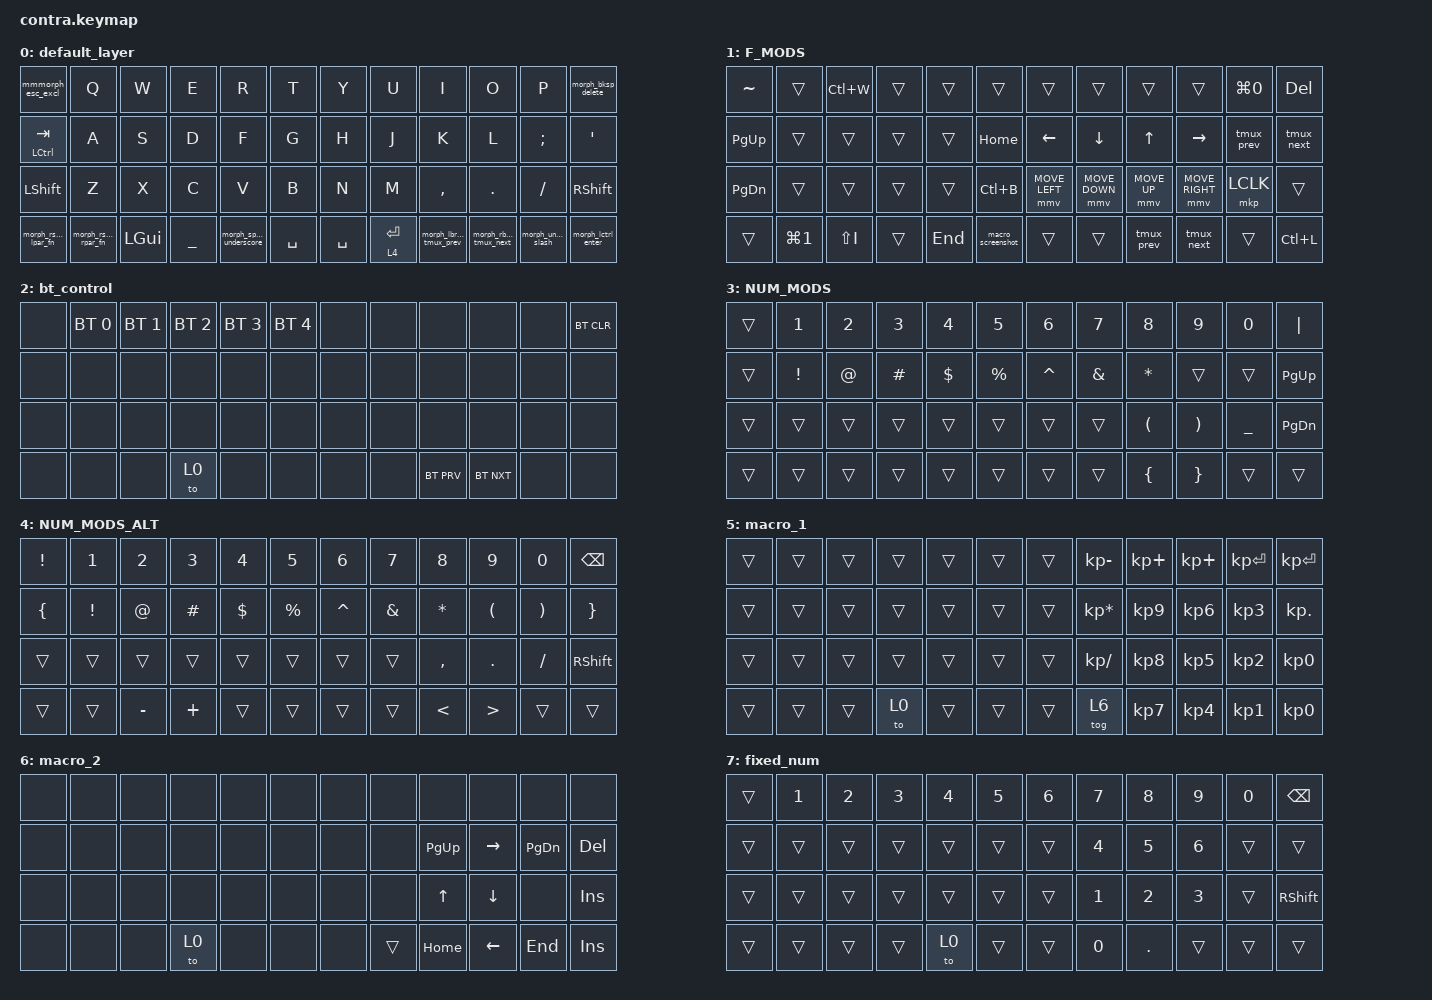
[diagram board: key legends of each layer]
/*
 * Copyright (c) 2021 The ZMK Contributors
 *
 * SPDX-License-Identifier: MIT
 */

#include <behaviors.dtsi>
#include <dt-bindings/zmk/bt.h>
#include <dt-bindings/zmk/keys.h>
#include <dt-bindings/zmk/mouse.h>

#define DEFAULT  0
#define NUM_MODS 1
#define BT_CTRL  2

/ {
    behaviors {
        tap_layer: tap_layer {
            compatible = "zmk,behavior-tap-dance";
            label = "TAP_LAYER";
            #binding-cells = <0>;
            bindings =
                <&to 5>,
                <&to 2>;
        };
        morph_rshift_number: morph_rshift_number {
            compatible = "zmk,behavior-mod-morph";
            label = "MORPH_RSHIFT_NUMBER";
            bindings =
                <&kp RIGHT_SHIFT>,
                <&mo 3>;

            #binding-cells = <0>;
            mods = <(MOD_RCTL)>;
        };
        morph_bksp_delete: morph_bksp_delete {
            compatible = "zmk,behavior-mod-morph";
            label = "MORPH_BKSP_DELETE";
            bindings =
                <&kp BACKSPACE>,
                <&kp DELETE>;

            #binding-cells = <0>;
            mods = <(MOD_LCTL)>;
        };
        morph_gresc_tilde: morph_gresc_tilde {
            compatible = "zmk,behavior-mod-morph";
            label = "MORPH_GRESC_TILDE";
            bindings =
                <&gresc>,
                <&kp TILDE>;

            #binding-cells = <0>;
            mods = <(MOD_LCTL)>;
        };
        morph_lbracket_tmux_prev: morph_lbracket_tmux_prev {
            compatible = "zmk,behavior-mod-morph";
            label = "MORPH_LBRACKET_TMUX_PREV";
            bindings =
                <&kp LEFT_BRACKET>,
                <&tmux_prev>;

            #binding-cells = <0>;
            mods = <(MOD_LCTL)>;
        };
        morph_rbracket_tmux_next: morph_rbracket_tmux_next {
            compatible = "zmk,behavior-mod-morph";
            label = "MORPH_RBRACKET_TMUX_NEXT";
            bindings =
                <&kp RIGHT_BRACKET>,
                <&tmux_next>;

            #binding-cells = <0>;
            mods = <(MOD_LCTL)>;
        };
        morph_underscore_slash: morph_underscore_slash {
            compatible = "zmk,behavior-mod-morph";
            label = "MORPH_UNDERSCORE_SLASH";
            bindings =
                <&kp BACKSLASH>,
                <&kp UNDERSCORE>;

            #binding-cells = <0>;
            mods = <(MOD_RSFT)>;
        };
        morph_lctrl_enter: morph_lctrl_enter {
            compatible = "zmk,behavior-mod-morph";
            label = "MORPH_LCTRL_ENTER";
            bindings =
                <&lt 3 ENTER>,
                <&kp LC(L)>;

            #binding-cells = <0>;
            mods = <(MOD_LCTL)>;
        };
        morph_morph_esc: morph_morph_esc {
            compatible = "zmk,behavior-mod-morph";
            label = "MORPH_MORPH_ESC";
            bindings =
                <&morph_gresc_tilde>,
                <&kp LG(TAB)>;

            #binding-cells = <0>;
            mods = <(MOD_LGUI)>;
            keep-mods = <(MOD_LGUI)>;
        };
        morph_space_underscore: morph_space_underscore {
            compatible = "zmk,behavior-mod-morph";
            label = "MORPH_SPACE_UNDERSCORE";
            bindings =
                <&to 0>,
                <&kp UNDERSCORE>;

            #binding-cells = <0>;
            mods = <(MOD_RSFT)>;
        };
        mmmorph_esc_excl: mmmorph_esc_excl {
            compatible = "zmk,behavior-mod-morph";
            label = "MMMORPH_ESC_EXCL";
            bindings =
                <&morph_morph_esc>,
                <&kp EXCLAMATION>;

            #binding-cells = <0>;
            mods = <(MOD_RSFT)>;
        };
        morph_rshift_lpar_fn: morph_rshift_lpar_fn {
            compatible = "zmk,behavior-mod-morph";
            label = "MORPH_RSHIFT_LPAR_FN";
            bindings =
                <&mo 1>,
                <&kp LEFT_PARENTHESIS>;

            #binding-cells = <0>;
            mods = <(MOD_RSFT)>;
        };
        morph_rshift_rpar_fn: morph_rshift_rpar_fn {
            compatible = "zmk,behavior-mod-morph";
            label = "MORPH_RSHIFT_RPAR_FN";
            bindings =
                <&kp LEFT_ALT>,
                <&kp RPAR>;

            #binding-cells = <0>;
            mods = <(MOD_RSFT)>;
        };
    };

    combos {
        compatible = "zmk,combos";

        combo_quot {
            timeout-ms = <50>;
            key-positions = <22 23>;
            bindings = <&kp DOUBLE_QUOTES>;
        };

        combo_best_regards {
            timeout-ms = <50>;
            key-positions = <40 41 43>;
            bindings = <&macro_best_regards>;
        };

        combo_layer_numpad {
            timeout-ms = <50>;
            key-positions = <30 40 41>;
            bindings = <&to 5>;
        };

        combo_layer_bluetooth {
            timeout-ms = <50>;
            key-positions = <29 40>;
            bindings = <&to 2>;
        };

        combo_bootloader {
            timeout-ms = <50>;
            key-positions = <36 38 11>;
            bindings = <&bootloader>;
        };

        combo_minus {
            timeout-ms = <50>;
            key-positions = <10 11>;
            bindings = <&kp MINUS>;
        };

        combo_equal {
            timeout-ms = <50>;
            key-positions = <9 10 11>;
            bindings = <&kp EQUAL>;
        };

        combo_tab {
            bindings = <&kp TAB>;
            key-positions = <12 13>;
        };

        combo_F1 {
            bindings = <&kp F1>;
            key-positions = <0 12>;
        };

        combo_F2 {
            bindings = <&kp F2>;
            key-positions = <1 13>;
        };

        combo_F3 {
            bindings = <&kp F3>;
            key-positions = <2 14>;
        };

        combo_F4 {
            bindings = <&kp F4>;
            key-positions = <3 15>;
        };

        combo_F5 {
            bindings = <&kp F5>;
            key-positions = <4 16>;
        };

        combo_F6 {
            bindings = <&kp F6>;
            key-positions = <5 17>;
        };

        combo_F7 {
            bindings = <&kp F7>;
            key-positions = <6 18>;
        };

        combo_F8 {
            bindings = <&kp F8>;
            key-positions = <7 19>;
        };

        combo_F9 {
            bindings = <&kp F9>;
            key-positions = <8 20>;
        };

        combo_F10 {
            bindings = <&kp F10>;
            key-positions = <9 21>;
        };

        combo_F11 {
            bindings = <&kp F11>;
            key-positions = <10 22>;
        };

        combo_F12 {
            bindings = <&kp F12>;
            key-positions = <11 23>;
        };

        combo_triple_equal {
            bindings = <&macro_triple_equal>;
            key-positions = <23 22 21>;
        };

        combo_to_fix_num {
            bindings = <&to 7>;
            key-positions = <40 30>;
        };
    };

    macros {
        tmux_prev: tmux_prev {
            compatible = "zmk,behavior-macro";
            label = "TMUX_PREV";
            #binding-cells = <0>;
            bindings = <&kp LC(B) &kp P>;
        };
        tmux_next: tmux_next {
            compatible = "zmk,behavior-macro";
            label = "TMUX_NEXT";
            #binding-cells = <0>;
            bindings = <&kp LC(B) &kp N>;
        };
        macro_triple_equal: macro_triple_equal {
            compatible = "zmk,behavior-macro";
            label = "MACRO_TRIPLE_EQUAL";
            #binding-cells = <0>;
            bindings = <&kp EQUAL &kp EQUAL &kp EQUAL>;
        };
        macro_screenshot: macro_screenshot {
            compatible = "zmk,behavior-macro";
            label = "MACRO_SCREENSHOT";
            #binding-cells = <0>;
            bindings = <&kp LG(LS(NUMBER_4))>;
        };
        macro_best_regards: macro_best_regards {
            compatible = "zmk,behavior-macro";
            label = "MACRO_BEST_REGARDS";
            #binding-cells = <0>;
            bindings = <&none &kp LS(B) &kp E &kp S &kp T &kp SPACE &kp LS(R) &kp E &kp G &kp A &kp R &kp D &kp S &kp COMMA &kp RET &kp LS(S) &kp A &kp V &kp I &kp O>;
        };
    };

    keymap {
        compatible = "zmk,keymap";

        default_layer {
            bindings = <
    &mmmorph_esc_excl                  &kp Q     &kp W      &kp E                    &kp R      &kp T      &kp Y        &kp U                      &kp I                      &kp O                    &kp P  &morph_bksp_delete
        &mt LCTRL TAB                  &kp A     &kp S      &kp D                    &kp F      &kp G      &kp H        &kp J                      &kp K                      &kp L                 &kp SEMI            &kp APOS
       &kp LEFT_SHIFT                  &kp Z     &kp X      &kp C                    &kp V      &kp B      &kp N        &kp M                  &kp COMMA                    &kp DOT                 &kp FSLH     &kp RIGHT_SHIFT
&morph_rshift_lpar_fn  &morph_rshift_rpar_fn  &kp LGUI  &kp UNDER  &morph_space_underscore  &kp SPACE  &kp SPACE  &lt 4 ENTER  &morph_lbracket_tmux_prev  &morph_rbracket_tmux_next  &morph_underscore_slash  &morph_lctrl_enter
            >;
        };

        F_MODS {
            bindings = <
&kp TILDE            &trans  &kp LC(W)  &trans   &trans             &trans         &trans           &trans          &trans           &trans  &kp LG(NUMBER_0)  &kp DELETE
&kp PG_UP            &trans     &trans  &trans   &trans           &kp HOME       &kp LEFT         &kp DOWN    &kp UP_ARROW        &kp RIGHT        &tmux_prev  &tmux_next
&kp PG_DN            &trans     &trans  &trans   &trans          &kp LC(B) &mmv MOVE_LEFT   &mmv MOVE_DOWN    &mmv MOVE_UP  &mmv MOVE_RIGHT         &mkp LCLK      &trans
   &trans  &kp LG(NUMBER_1)  &kp LS(I)  &trans  &kp END  &macro_screenshot         &trans           &trans      &tmux_prev       &tmux_next            &trans   &kp LC(L)
            >;
        };

        bt_control {
            bindings = <
&none  &bt BT_SEL 0  &bt BT_SEL 1  &bt BT_SEL 2  &bt BT_SEL 3  &bt BT_SEL 4  &none  &none       &none       &none  &none  &bt BT_CLR
&none         &none         &none         &none         &none         &none  &none  &none       &none       &none  &none       &none
&none         &none         &none         &none         &none         &none  &none  &none       &none       &none  &none       &none
&none         &none         &none         &to 0         &none         &none  &none  &none  &bt BT_PRV  &bt BT_NXT  &none       &none
            >;
        };

        NUM_MODS {
            bindings = <
&trans  &kp NUMBER_1  &kp NUMBER_2  &kp NUMBER_3  &kp NUMBER_4  &kp NUMBER_5  &kp NUMBER_6   &kp NUMBER_7          &kp NUMBER_8           &kp NUMBER_9    &kp NUMBER_0   &kp PIPE
&trans      &kp EXCL   &kp AT_SIGN     &kp POUND    &kp DOLLAR   &kp PERCENT     &kp CARET  &kp AMPERSAND              &kp STAR                 &trans          &trans  &kp PG_UP
&trans        &trans        &trans        &trans        &trans        &trans        &trans         &trans  &kp LEFT_PARENTHESIS  &kp RIGHT_PARENTHESIS  &kp UNDERSCORE  &kp PG_DN
&trans        &trans        &trans        &trans        &trans        &trans        &trans         &trans        &kp LEFT_BRACE        &kp RIGHT_BRACE          &trans     &trans
            >;
        };

        NUM_MODS_ALT {
            bindings = <
&kp EXCLAMATION           &kp N1     &kp N2    &kp N3      &kp N4       &kp N5     &kp N6         &kp N7         &kp N8                &kp N9                 &kp N0    &kp BACKSPACE
 &kp LEFT_BRACE  &kp EXCLAMATION     &kp AT  &kp HASH  &kp DOLLAR  &kp PERCENT  &kp CARET  &kp AMPERSAND       &kp STAR  &kp LEFT_PARENTHESIS  &kp RIGHT_PARENTHESIS  &kp RIGHT_BRACE
         &trans           &trans     &trans    &trans      &trans       &trans     &trans         &trans      &kp COMMA               &kp DOT              &kp SLASH        &kp RSHFT
         &trans           &trans  &kp MINUS  &kp PLUS      &trans       &trans     &trans         &trans  &kp LESS_THAN      &kp GREATER_THAN                 &trans           &trans
            >;
        };

        macro_1 {
            bindings = <
&trans  &trans  &trans  &trans  &trans  &trans  &trans     &kp KP_MINUS  &kp KP_PLUS      &kp KP_PLUS  &kp KP_ENTER     &kp KP_ENTER
&trans  &trans  &trans  &trans  &trans  &trans  &trans  &kp KP_MULTIPLY    &kp KP_N9        &kp KP_N6     &kp KP_N3       &kp KP_DOT
&trans  &trans  &trans  &trans  &trans  &trans  &trans    &kp KP_DIVIDE    &kp KP_N8  &kp KP_NUMBER_5     &kp KP_N2  &kp KP_NUMBER_0
&trans  &trans  &trans   &to 0  &trans  &trans  &trans           &tog 6    &kp KP_N7  &kp KP_NUMBER_4     &kp KP_N1  &kp KP_NUMBER_0
            >;
        };

        macro_2 {
            bindings = <
&none  &none  &none  &none  &none  &none  &none   &none        &none      &none          &none    &none
&none  &none  &none  &none  &none  &none  &none   &none  &kp PAGE_UP  &kp RIGHT  &kp PAGE_DOWN  &kp DEL
&none  &none  &none  &none  &none  &none  &none   &none       &kp UP   &kp DOWN          &none  &kp INS
&none  &none  &none  &to 0  &none  &none  &none  &trans     &kp HOME   &kp LEFT        &kp END  &kp INS
            >;
        };

        fixed_num {
            bindings = <
&trans  &kp N1  &kp N2  &kp N3  &kp N4  &kp N5  &kp N6        &kp N7   &kp N8  &kp N9  &kp N0   &kp BSPC
&trans  &trans  &trans  &trans  &trans  &trans  &trans  &kp NUMBER_4   &kp N5  &kp N6  &trans     &trans
&trans  &trans  &trans  &trans  &trans  &trans  &trans        &kp N1   &kp N2  &kp N3  &trans  &kp RSHFT
&trans  &trans  &trans  &trans   &to 0  &trans  &trans        &kp N0  &kp DOT  &trans  &trans     &trans
            >;
        };
    };
}
